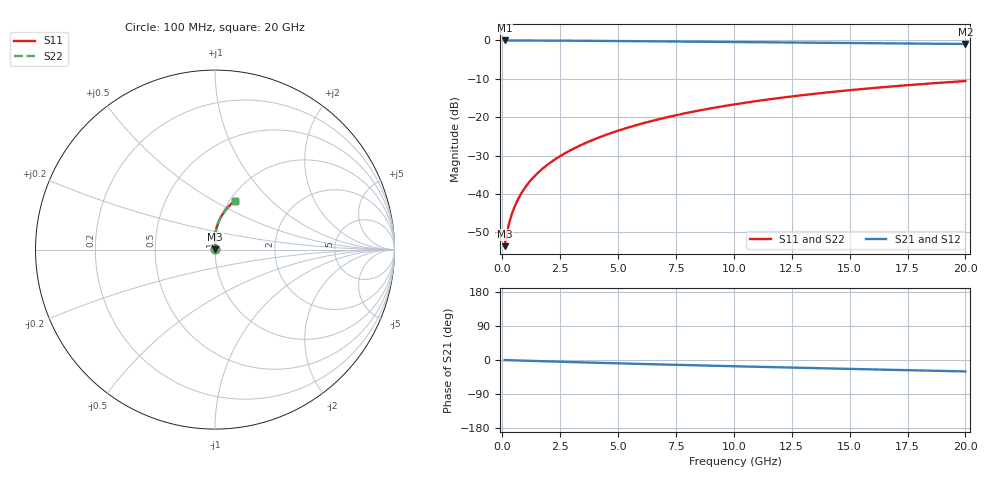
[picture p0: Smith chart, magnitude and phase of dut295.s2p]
! Touchstone file exported from HFSS 2024.1.0
!  File:  C:/UserFiles/LocalFiles/RDL_TSV_Batchsim/temp_RDL_bottom_295_1778703588.aedt
!  Generated:  04:22:10 AM May 14, 2026
!  Design:  RDL_bottom
!  Project:  temp_RDL_bottom_295_1778703588
!  Setup:  Setup1
!  Solution:  Sweep
! Variables:
!  dtsv = 10.80580581um
!  hbump = 3um
!  htsv = 58.45um
!  ldown = 400.35um
!  lrdl = 100um
!  p = 40
!  p1 = 59.49um
!  rhole = 1um
!  t = 450um
!  tdown = 3.78um
!  trdl = 3.915915916um
!  wdown = 27.28um
!  wrdl = 20um
# GHz S MA R 50.000000
! Terminal data exported
! Port[1] = RDL1_T1
! Port[2] = RDL1_T2
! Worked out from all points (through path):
!   200 points, 100 MHz to 20 GHz, reference 50 ohm
!   highest |S21| = -0.01 dB at 100 MHz (marker M1); lowest = -0.9 dB at 20 GHz (marker M2)
!   group delay of S21, straight-line fit = 4.13 ps
!   lowest |S11| = -53.6 dB at 100 MHz (marker M3), VSWR 1.00, Z = 50.2 + j0.135 ohm
!   |S11| at or under -10 dB: start of sweep to end of sweep
!   |S22| runs from -53.6 to -10.6 dB; largest |S21 - S12| = 3.1e-15
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0.1  0.002091 40.0  0.9984 -0.2  0.9984 -0.2  0.002091 40.0
! Gamma 0 0 0 0
! Port Impedance 50 0 50 0
0.2  0.003118 57.0  0.9983 -0.4  0.9983 -0.4  0.003118 57.0
0.3  0.004219 65.2  0.9981 -0.6  0.9981 -0.6  0.004219 65.2
0.4  0.005336 70.1  0.998 -0.8  0.998 -0.8  0.005336 70.1
0.5  0.006468 73.5  0.9979 -0.9  0.9979 -0.9  0.006468 73.5
0.6  0.007614 76.1  0.9977 -1.1  0.9977 -1.1  0.007614 76.1
0.8  0.009945 79.6  0.9974 -1.5  0.9974 -1.5  0.009945 79.6
1.1  0.01352 82.9  0.9969 -2.0  0.9969 -2.0  0.01352 82.9
1.5  0.01839 85.5  0.996 -2.8  0.996 -2.8  0.01839 85.5
1.8  0.02213 86.8  0.9952 -3.3  0.9952 -3.3  0.02213 86.7
2.1  0.02595 87.7  0.9943 -3.9  0.9943 -3.9  0.02595 87.7
2.7  0.0338 89.0  0.9921 -4.9  0.9921 -4.9  0.0338 89.0
3.5  0.04476 89.9  0.9886 -6.3  0.9886 -6.3  0.04475 89.8
4.2  0.05479 90.1  0.9851 -7.5  0.9851 -7.5  0.05478 90.1
5  0.0667 89.9  0.9809 -8.8  0.9809 -8.8  0.06668 89.9
5.9  0.08056 89.2  0.9759 -10.3  0.9759 -10.3  0.08053 89.2
6.8  0.09477 88.3  0.9709 -11.7  0.9709 -11.7  0.09474 88.3
8.4  0.1205 86.1  0.9618 -14.1  0.9618 -14.1  0.1205 86.1
10.1  0.148 83.5  0.9524 -16.6  0.9524 -16.6  0.148 83.5
13.4  0.2003 78.0  0.9345 -21.3  0.9345 -21.3  0.2002 78.0
16.7  0.2497 72.7  0.9165 -25.8  0.9165 -25.8  0.2496 72.7
20  0.2957 67.6  0.8981 -30.2  0.8981 -30.2  0.2956 67.6
